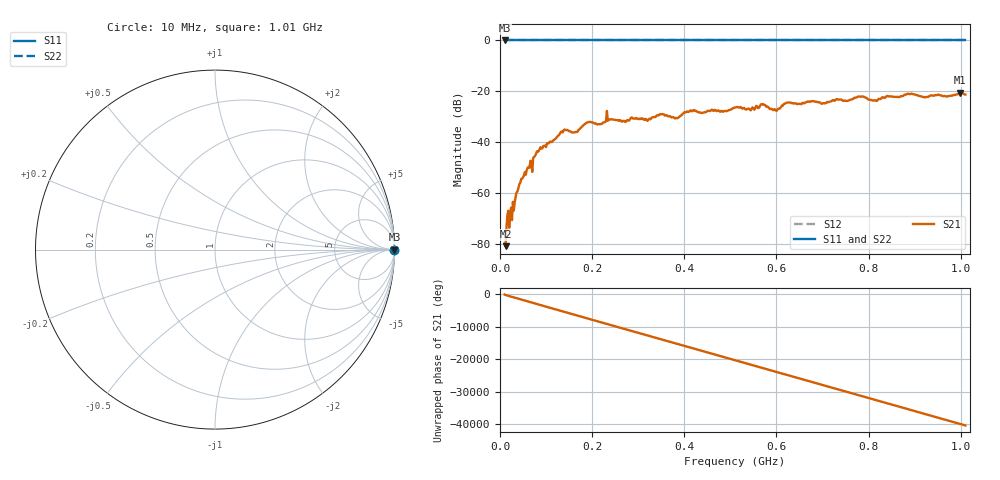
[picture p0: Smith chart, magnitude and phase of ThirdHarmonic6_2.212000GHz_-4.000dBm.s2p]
! 8/17/2025 2:21:02 AM
! C:\ANRITSUVNA\TEMP\TEMP.S2P
! CHANNEL.1
! TR.MEASUREMENT
! RAW.DATA
! RF.CORRECTION.OFF
! AVERAGING.OFF
! IF.BANDWIDTH: 5KHZ
! SWEEPTYPE:  FREQ.SWEEP(Linear)
! Reference Plane Port Info
! PORT:  PORT1  PORT2
! DISTANCE:  0  m  0  m
! TIME:  0  s  0  s
! PHASE.OFFSET:  0  deg.  0  deg.
! LOSS:  0  dB  0  dB
! REF.LOSS:  0  dB  0  dB
! REF.FREQ:  0  Hz  0  Hz
! Power Info
! POWER:  -20  dBm  -20  dBm
! EFF.POWER:  -20  dBm  -20  dBm
! SOURCE.ATTEN:  0  dB  0  dB
! TEST.ATTEN:  0  dB  0  dB
# GHZ S RI R 50.0
! FREQ.GHZ  S11RE  S11IM  S21RE  S21IM  S12RE  S12IM  S22RE  S22IM
!; PortSelection: Port_12
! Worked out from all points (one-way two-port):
!   501 points, 10 MHz to 1.01 GHz, reference 50 ohm
!   highest |S21| = -20.56 dB at 998 MHz (marker M1); lowest = -80.8 dB at 12 MHz (marker M2)
!   lowest |S11| = 0.0 dB at 10 MHz (marker M3)
!   |S11| at or under -10 dB: nowhere
!   |S22| runs from 0.0 to 0.0 dB; largest |S21 - S12| = 1.1
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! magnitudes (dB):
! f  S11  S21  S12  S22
! 10 MHz  0.0  -79.7  0.0  0.0
! 12 MHz  0.0  -80.8  0.0  0.0
! 20 MHz  0.0  -73.5  0.0  0.0
! 24 MHz  0.0  -65.7  0.0  0.0
! 44 MHz  0.0  -55.9  0.0  0.0
! 76 MHz  0.0  -45.4  0.0  0.0
! 136 MHz  0.0  -36.1  0.0  0.0
! 164 MHz  0.0  -35.9  0.0  0.0
! 178 MHz  0.0  -33.8  0.0  0.0
! 236 MHz  0.0  -31.2  0.0  0.0
! 270 MHz  0.0  -31.6  0.0  0.0
! 344 MHz  0.0  -29.4  0.0  0.0
! 382 MHz  0.0  -30.4  0.0  0.0
! 416 MHz  0.0  -27.8  0.0  0.0
! 510 MHz  0.0  -26.4  0.0  0.0
! 570 MHz  0.0  -25.0  0.0  0.0
! 598 MHz  0.0  -27.4  0.0  0.0
! 622 MHz  0.0  -24.5  0.0  0.0
! 678 MHz  0.0  -23.8  0.0  0.0
! 844 MHz  0.0  -22.0  0.0  0.0
! 998 MHz  0.0  -20.6  0.0  0.0
! 1.01 GHz  0.0  -21.2  0.0  0.0
